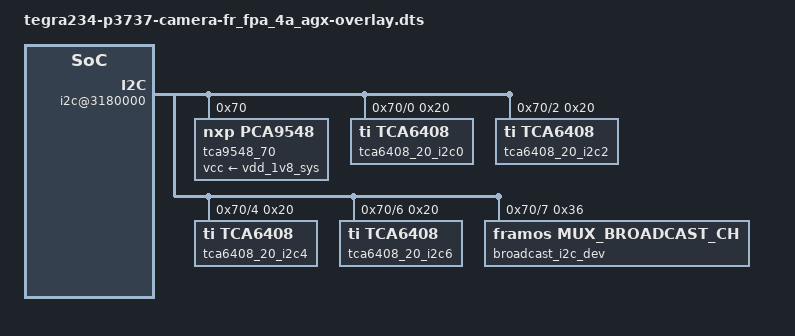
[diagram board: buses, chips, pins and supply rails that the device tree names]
// SPDX-License-Identifier: GPL-2.0
/*
 * Copyright (c) 2024 Framos. All rights reserved.
 *
 * tegra234-p3737-camera-fr_fpa_4a_agx-overlay.dts - FPA-4.A/AGX device tree
 */

/dts-v1/;
/plugin/;

#include <dt-bindings/clock/tegra234-clock.h>
#include <dt-bindings/gpio/tegra234-gpio.h>
#include <dt-bindings/tegra234-p3737-0000+p3701-0000.h>


/* TCA6408 Pxx bus-port define*/
#define PW_EN		0
#define CRESETB		1
#define CAM_RST		2
#define XMASTER		3
#define SLAMODE0	4
#define SLAMODE1	5
#define SLAMODE2	6
#define TENABLE		7

/ {
	overlay-name = "Framos FPA-4.A/AGX";
	jetson-header-name = "Jetson AGX CSI Connector";
	compatible = JETSON_COMPATIBLE;

	fragment@0 {
		target-path = "/";
		__overlay__ {
			tegra-camera-platform {
				num_csi_lanes = <16>;
				max_lane_speed = <2500000>;
				min_bits_per_pixel = <10>;
				vi_peak_byte_per_pixel = <2>;
				vi_bw_margin_pct = <25>;
				isp_peak_byte_per_pixel = <5>;
				isp_bw_margin_pct = <25>;
				modules {
					status = "okay";
					sensor_module0: module0 {
						status = "disabled";
						position = "bottomleft";
						orientation = "1";
						drivernode0 {
							status = "disabled";
							pcl_id = "v4l2_sensor";
						};
					};
					sensor_module1: module1 {
						status = "disabled";
						position = "centerright";
						orientation = "1";
						drivernode0 {
							status = "disabled";
							pcl_id = "v4l2_sensor";
						};
					};
					sensor_module2: module2 {
						status = "disabled";
						position = "bottomright";
						orientation = "1";
						drivernode0 {
							status = "disabled";
							pcl_id = "v4l2_sensor";
						};
					};
					sensor_module3: module3 {
						status = "disabled";
						position = "topright";
						orientation = "1";
						drivernode0 {
							status = "disabled";
							pcl_id = "v4l2_sensor";
						};
					};
				};
			};
			tegra-capture-vi {
				num-channels=<6>;
				ports {
					status = "okay";
					sensor_vi_port0: port@0 {
						reg = <0>;
						status = "disabled";
						sensor_vi_in0: endpoint {
							status = "disabled";
							vc-id = <0>;
							port-index = <0>;
							remote-endpoint = <&sensor_csi_ch0_out>;
						};
					};
					sensor_vi_port1: port@1 {
						reg = <1>;
						status = "disabled";
						sensor_vi_in1: endpoint {
							status = "disabled";
							vc-id = <0>;
							port-index = <1>;
							remote-endpoint = <&sensor_csi_ch1_out>;
						};
					};
					sensor_vi_port2: port@2 {
						reg = <2>;
						status = "disabled";
						sensor_vi_in2: endpoint {
							status = "disabled";
							vc-id = <0>;
							port-index = <2>;
							remote-endpoint = <&sensor_csi_ch2_out>;
						};
					};
					sensor_vi_port3: port@3 {
						reg = <3>;
						status = "disabled";
						sensor_vi_in3: endpoint {
							status = "disabled";
							vc-id = <0>;
							port-index = <3>;
							remote-endpoint = <&sensor_csi_ch3_out>;
						};
					};
					sensor_vi_port4: port@4 {
						reg = <4>;
						status = "disabled";
						sensor_vi_in4: endpoint {
							status = "disabled";
							vc-id = <0>;
							port-index = <4>;
							remote-endpoint = <&sensor_csi_ch4_out>;
						};
					};
					sensor_vi_port5: port@5 {
						reg = <5>;
						status = "disabled";
						sensor_vi_in5: endpoint {
							status = "disabled";
							vc-id = <0>;
							port-index = <5>;
							remote-endpoint = <&sensor_csi_ch6_out>;
						};
					};
				};
			};
		};
	};

	fragment@1 {
		target-path = "/bus@0";
		__overlay__ {
			host1x@13e00000 {
				nvcsi@15a00000 {
					num-channels=<8>;
					sensor_csi_ch0: channel@0 {
						reg = <0>;
						status = "disabled";
						ports {
							status = "disabled";
							sensor_csi_ch0_port0: port@0 {
								reg = <0>;
								status = "disabled";
								sensor_csi_ch0_in: endpoint@0 {
									status = "disabled";
									port-index = <0>;
								};
							};
							sensor_csi_ch0_port1: port@1 {
								reg = <1>;
								status = "disabled";
								sensor_csi_ch0_out: endpoint@1 {
									status = "disabled";
									remote-endpoint = <&sensor_vi_in0>;
								};
							};
						};
					};
					sensor_csi_ch1: channel@1 {
						reg = <1>;
						status = "disabled";
						ports {
							status = "disabled";
							sensor_csi_ch1_port0: port@0 {
								reg = <0>;
								status = "disabled";
								sensor_csi_ch1_in: endpoint@2 {
									status = "disabled";
									port-index = <1>;
								};
							};
							sensor_csi_ch1_port1: port@1 {
								reg = <1>;
								status = "disabled";
								sensor_csi_ch1_out: endpoint@3 {
									status = "disabled";
									remote-endpoint = <&sensor_vi_in1>;
								};
							};
						};
					};
					sensor_csi_ch2: channel@2 {
						reg = <2>;
						status = "disabled";
						ports {
							status = "disabled";
							sensor_csi_ch2_port0: port@0 {
								reg = <0>;
								status = "disabled";
								sensor_csi_ch2_in: endpoint@4 {
									status = "disabled";
									port-index = <2>;
								};
							};
							sensor_csi_ch2_port1: port@1 {
								reg = <1>;
								status = "disabled";
								sensor_csi_ch2_out: endpoint@5 {
									status = "disabled";
									remote-endpoint = <&sensor_vi_in2>;
								};
							};
						};
					};
					sensor_csi_ch3: channel@3 {
						reg = <3>;
						status = "disabled";
						ports {
							status = "disabled";
							sensor_csi_ch3_port0: port@0 {
								reg = <0>;
								status = "disabled";
								sensor_csi_ch3_in: endpoint@6 {
									status = "disabled";
									port-index = <3>;
								};
							};
							sensor_csi_ch3_port1: port@1 {
								reg = <1>;
								status = "disabled";
								sensor_csi_ch3_out: endpoint@7 {
									status = "disabled";
									remote-endpoint = <&sensor_vi_in3>;
								};
							};
						};
					};
					sensor_csi_ch4: channel@4 {
						reg = <4>;
						status = "disabled";
						ports {
							status = "disabled";
							sensor_csi_ch4_port0: port@0 {
								reg = <0>;
								status = "disabled";
								sensor_csi_ch4_in: endpoint@8 {
									status = "disabled";
									port-index = <4>;
								};
							};
							sensor_csi_ch4_port1: port@1 {
								reg = <1>;
								status = "disabled";
								sensor_csi_ch4_out: endpoint@9 {
									status = "disabled";
									remote-endpoint = <&sensor_vi_in4>;
								};
							};
						};
					};
					sensor_csi_ch5: channel@5 {
						reg = <5>;
						status = "disabled";
						ports {
							status = "disabled";
							sensor_csi_ch5_port0: port@0 {
								reg = <0>;
								status = "disabled";
								sensor_csi_ch5_in: endpoint@10 {
									status = "disabled";
									port-index = <5>;
								};
							};
							sensor_csi_ch5_port1: port@1 {
								reg = <1>;
								status = "disabled";
								sensor_csi_ch5_out: endpoint@11 {
									status = "disabled";
									remote-endpoint = <&sensor_vi_in4>;
								};
							};
						};
					};
					sensor_csi_ch6: channel@6 {
						reg = <6>;
						status = "disabled";
						ports {
							status = "disabled";
							sensor_csi_ch6_port0: port@0 {
								reg = <0>;
								status = "disabled";
								sensor_csi_ch6_in: endpoint@12 {
									status = "disabled";
									port-index = <6>;
								};
							};
							sensor_csi_ch6_port1: port@1 {
								reg = <1>;
								status = "disabled";
								sensor_csi_ch6_out: endpoint@13 {
									status = "disabled";
									remote-endpoint = <&sensor_vi_in5>;
								};
							};
						};
					};
					sensor_csi_ch7: channel@7 {
						reg = <7>;
						status = "disabled";
						ports {
							status = "disabled";
							sensor_csi_ch7_port0: port@0 {
								reg = <0>;
								status = "disabled";
								sensor_csi_ch7_in: endpoint@14 {
									status = "disabled";
									port-index = <7>;
								};
							};
							sensor_csi_ch7_port1: port@1 {
								reg = <1>;
								status = "disabled";
								sensor_csi_ch7_out: endpoint@15 {
									status = "disabled";
									remote-endpoint = <&sensor_vi_in5>;
								};
							};
						};
					};
				};

				vi0@15c00000 {
					dma-noncoherent;
				};

				vi0-thi@15f00000 {
					dma-noncoherent;
				};

				vi1@14c00000 {
					dma-noncoherent;
				};

				vi1-thi@14f00000 {
					dma-noncoherent;
				};
			};
			gpio@2200000 {
				camera-control-output-low {
					status = "disabled";
				};
			};
			i2c@3180000 {
				status = "okay";
				tca9548_70: tca9548@70 {
					status = "okay";
					compatible = "nxp,pca9548";
					reg = <0x70>;
					#address-cells = <1>;
					#size-cells = <0>;
					skip_mux_detect;
					vcc-supply = <&vdd_1v8_sys>;
				};
			};
		};
	};

	fragment@2 {
		target = <&tca9548_70>;
		__overlay__ {
			/* Channel connected to J5 */
			tca9548_70_i2c0: i2c@0 {
				status = "okay";
				reg = <0>;
				i2c-mux,deselect-on-exit;
				#address-cells = <1>;
				#size-cells = <0>;
				reset-gpios = <&tca6408_20_i2c0 CAM_RST GPIO_ACTIVE_HIGH>;
				xmaster-gpio = <&tca6408_20_i2c0 XMASTER GPIO_ACTIVE_HIGH>;
				cresetb = <&tca6408_20_i2c0 CRESETB GPIO_ACTIVE_HIGH>;
				pwdn-gpios = <&tca6408_20_i2c0 PW_EN GPIO_ACTIVE_HIGH>;
			};
			/* Channel connected to J6 */
			tca9548_70_i2c2: i2c@2 {
				status = "okay";
				reg = <2>;
				i2c-mux,deselect-on-exit;
				#address-cells = <1>;
				#size-cells = <0>;
				reset-gpios = <&tca6408_20_i2c2 CAM_RST GPIO_ACTIVE_HIGH>;
				xmaster-gpio = <&tca6408_20_i2c2 XMASTER GPIO_ACTIVE_HIGH>;
				cresetb = <&tca6408_20_i2c2 CRESETB GPIO_ACTIVE_HIGH>;
				pwdn-gpios = <&tca6408_20_i2c2 PW_EN GPIO_ACTIVE_HIGH>;
			};
			/* Channel connected to J7 */
			tca9548_70_i2c4: i2c@4 {
				status = "okay";
				reg = <4>;
				i2c-mux,deselect-on-exit;
				#address-cells = <1>;
				#size-cells = <0>;
				reset-gpios = <&tca6408_20_i2c4 CAM_RST GPIO_ACTIVE_HIGH>;
				xmaster-gpio = <&tca6408_20_i2c4 XMASTER GPIO_ACTIVE_HIGH>;
				cresetb = <&tca6408_20_i2c4 CRESETB GPIO_ACTIVE_HIGH>;
				pwdn-gpios = <&tca6408_20_i2c4 PW_EN GPIO_ACTIVE_HIGH>;
				};
			/* Channel connected to J8 */
			tca9548_70_i2c6: i2c@6 {
				status = "okay";
				reg = <6>;
				i2c-mux,deselect-on-exit;
				#address-cells = <1>;
				#size-cells = <0>;
				reset-gpios = <&tca6408_20_i2c6 CAM_RST GPIO_ACTIVE_HIGH>;
				xmaster-gpio = <&tca6408_20_i2c6 XMASTER GPIO_ACTIVE_HIGH>;
				cresetb = <&tca6408_20_i2c6 CRESETB GPIO_ACTIVE_HIGH>;
				pwdn-gpios = <&tca6408_20_i2c6 PW_EN GPIO_ACTIVE_HIGH>;
			};
			/* Broadcast MUX channel */
			tca9548_70_i2c7: i2c@7 {
				reg = <7>;
				i2c-mux,deselect-on-exit;
				#address-cells = <1>;
				#size-cells = <0>;
			};
		};
	};

	fragment@3 {
		target = <&tca9548_70_i2c0>;
		__overlay__ {
			tca6408_20_i2c0: tca6408@20 {
				compatible = "ti,tca6408";
				gpio-controller;
				#gpio-cells = <2>;
				reg = <0x20>;
				status = "okay";
				gpio-line-names = "J5-tca6408_20_i2c0_pw_en", "J5-tca6408_20_i2c0_cresetb", "J5-tca6408_20_i2c0_cam_rst", "J5-tca6408_20_i2c0_xmaster";
				/* P0: PW_EN */
				tca6408_20_i2c0_pw_en-hog {
					gpio-hog;
					output-high;
					gpios = <PW_EN 0>;
					label = "pw_en";
					status = "okay";
				};
				/* P1: CRESETB - This node has no effect but was left here for readability */
				tca6408_20_i2c0_cresetb {
					output-high;
					gpios = <CRESETB 0>;
					label = "cresetb";
					status = "okay";
				};
				/* P2: CAM_RST */
				tca6408_20_i2c0_cam_rst-hog {
					gpio-hog;
					output-low;
					gpios = <CAM_RST 0>;
					label = "cam_rst";
					status = "okay";
				};
				/* P3: XMASTER */
				tca6408_20_i2c0_xmaster-hog {
					gpio-hog;
					output-low;
					gpios = <XMASTER 0>;
					label = "xmaster";
					status = "okay";
				};
			};
		};
	};

	fragment@4 {
		target = <&tca9548_70_i2c2>;
		__overlay__ {
			tca6408_20_i2c2: tca6408@20 {
				compatible = "ti,tca6408";
				gpio-controller;
				#gpio-cells = <2>;
				reg = <0x20>;
				status = "okay";
				gpio-line-names = "J6-tca6408_20_i2c2_pw_en", "J6-tca6408_20_i2c2_cresetb", "J6-tca6408_20_i2c2_cam_rst", "J6-tca6408_20_i2c2_xmaster";
				/* P0: PW_EN */
				tca6408_20_i2c2_pw_en-hog {
					gpio-hog;
					output-high;
					gpios = <PW_EN 0>;
					label = "pw_en";
					status = "okay";
				};
				/* P1: CRESETB - This node has no effect but was left here for readability */
				tca6408_20_i2c2_cresetb {
					output-high;
					gpios = <CRESETB 0>;
					label = "cresetb";
					status = "okay";
				};
				/* P2: CAM_RST */
				tca6408_20_i2c2_cam_rst-hog {
					gpio-hog;
					output-low;
					gpios = <CAM_RST 0>;
					label = "cam_rst";
					status = "okay";
				};
				/* P3: XMASTER */
				tca6408_20_i2c2_xmaster-hog {
					gpio-hog;
					output-low;
					gpios = <XMASTER 0>;
					label = "xmaster";
					status = "okay";
				};
			};
		};
	};

	fragment@5 {
		target = <&tca9548_70_i2c4>;
		__overlay__ {
			tca6408_20_i2c4: tca6408@20 {
				compatible = "ti,tca6408";
				gpio-controller;
				#gpio-cells = <2>;
				reg = <0x20>;
				status = "okay";
				gpio-line-names = "J7-tca6408_20_i2c4_pw_en", "J7-tca6408_20_i2c4_cresetb", "J7-tca6408_20_i2c4_cam_rst", "J7-tca6408_20_i2c4_xmaster";
				/* P0: PW_EN */
				tca6408_20_i2c4_pw_en-hog {
					gpio-hog;
					output-high;
					gpios = <PW_EN 0>;
					label = "pw_en";
					status = "okay";
				};
				/* P1: CRESETB - This node has no effect but was left here for readability */
				tca6408_20_i2c4_cresetb {
					output-high;
					gpios = <CRESETB 0>;
					label = "cresetb";
					status = "okay";
				};
				/* P2: CAM_RST */
				tca6408_20_i2c4_cam_rst-hog {
					gpio-hog;
					output-low;
					gpios = <CAM_RST 0>;
					label = "cam_rst";
					status = "okay";
				};
				/* P3: XMASTER */
				tca6408_20_i2c4_xmaster-hog {
					gpio-hog;
					output-low;
					gpios = <XMASTER 0>;
					label = "xmaster";
					status = "okay";
				};
			};
		};
	};

	fragment@6 {
		target = <&tca9548_70_i2c6>;
		__overlay__ {
			tca6408_20_i2c6: tca6408@20 {
				compatible = "ti,tca6408";
				gpio-controller;
				#gpio-cells = <2>;
				reg = <0x20>;
				status = "okay";
				gpio-line-names = "J8-tca6408_20_i2c6_pw_en", "J8-tca6408_20_i2c6_cresetb", "J8-tca6408_20_i2c6_cam_rst", "J8-tca6408_20_i2c6_xmaster";
				/* P0: PW_EN */
				tca6408_20_i2c6_pw_en-hog {
					gpio-hog;
					output-high;
					gpios = <PW_EN 0>;
					label = "pw_en";
					status = "okay";
				};
				/* P1: CRESETB - This node has no effect but was left here for readability */
				tca6408_20_i2c6_cresetb {
					output-high;
					gpios = <CRESETB 0>;
					label = "cresetb";
					status = "okay";
				};
				/* P2: CAM_RST */
				tca6408_20_i2c6_cam_rst-hog {
					gpio-hog;
					output-low;
					gpios = <CAM_RST 0>;
					label = "cam_rst";
					status = "okay";
				};
				/* P3: XMASTER */
				tca6408_20_i2c6_xmaster-hog {
					gpio-hog;
					output-low;
					gpios = <XMASTER 0>;
					label = "xmaster";
					status = "okay";
				};
			};
		};
	};

	fragment@7 {
		target = <&tca9548_70_i2c7>;
		__overlay__ {
			broadcast_i2c_dev: broadcast_i2c_dev@36 {
				compatible = "framos, mux_broadcast_ch";
				device="i2c-mux";
				reg = <0x36>;
			};
		};
	};
};
